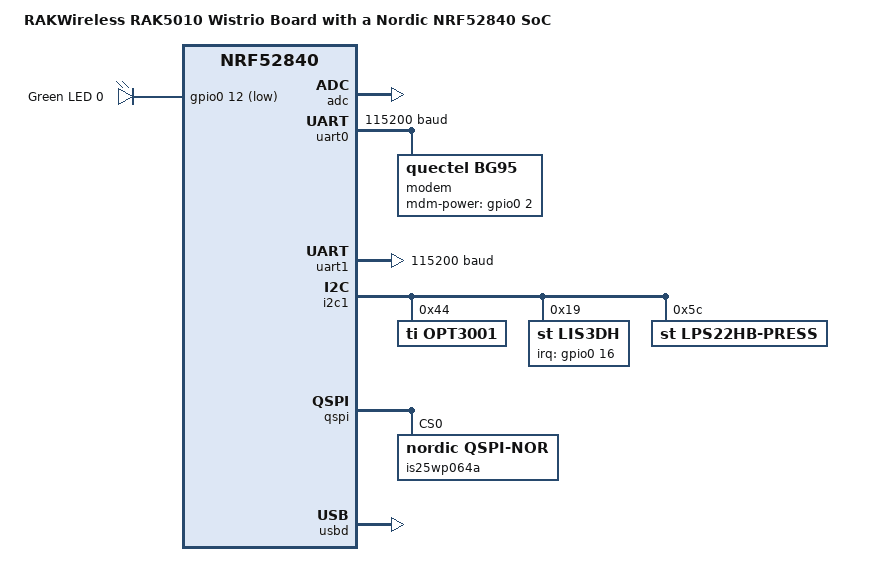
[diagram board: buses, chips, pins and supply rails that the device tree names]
/*
 * Copyright (c) 2020 Guillaume Paquet <guillaume.paquet@smile.fr>
 *
 * SPDX-License-Identifier: Apache-2.0
 */

/dts-v1/;
#include <nordic/nrf52840_qiaa.dtsi>
#include <nordic/nrf52840_partition.dtsi>
#include "rak5010_nrf52840-pinctrl.dtsi"

/ {
	model = "RAKWireless RAK5010 Wistrio Board with a Nordic NRF52840 SoC";
	compatible = "nordic,rak5010_nrf52840";

	chosen {
		zephyr,console = &uart1;
		zephyr,shell-uart = &uart1;
		zephyr,uart-mcumgr = &uart1;
		zephyr,bt-mon-uart = &uart1;
		zephyr,bt-c2h-uart = &uart1;
	};

	leds {
		compatible = "gpio-leds";
		led0: led_0 {
			gpios = <&gpio0 12 GPIO_ACTIVE_LOW>;
			label = "Green LED 0";
		};
	};

	/* Declaration of aliases */
	aliases {
		led0 = &led0;
		watchdog0 = &wdt0;
		accel0 = &lis3dh;
		modem-uart = &uart0;
		modem = &modem;
	};
};

&adc {
	status = "okay";
};

&gpiote {
	status = "okay";
};

&gpio0 {
	status = "okay";
};

&gpio1 {
	status = "okay";
};

&uart0 {
	compatible = "nordic,nrf-uarte";
	status = "okay";
	current-speed = <115200>;
	pinctrl-0 = <&uart0_default>;
	pinctrl-1 = <&uart0_sleep>;
	pinctrl-names = "default", "sleep";
	modem: modem {
		compatible = "quectel,bg95";
		mdm-power-gpios = <&gpio0 2 GPIO_ACTIVE_HIGH>;
		status = "okay";
	};
};

&uart1 {
	current-speed = <115200>;
	status = "okay";
	pinctrl-0 = <&uart1_default>;
	pinctrl-1 = <&uart1_sleep>;
	pinctrl-names = "default", "sleep";
};

&i2c1 {
	compatible = "nordic,nrf-twi";
	status = "okay";

	/* TI OPT3001 light sensor */
	pinctrl-0 = <&i2c1_default>;
	pinctrl-1 = <&i2c1_sleep>;
	pinctrl-names = "default", "sleep";
	opt3001@44 {
		compatible = "ti,opt3001";
		reg = <0x44>;
	};

	/* ST Microelectronics LIS3DH motion sensor */
	lis3dh: lis3dh@19 {
		compatible = "st,lis3dh", "st,lis2dh";
		reg = <0x19>;
		irq-gpios = <&gpio0 16 0>;
	};

	/* ST Microelectronics LPS22HB pressure sensor */
	lps22hb-press@5c {
		compatible = "st,lps22hb-press";
		reg = <0x5c>;
	};
};

&qspi {
	status = "okay";
	pinctrl-0 = <&qspi_default>;
	pinctrl-1 = <&qspi_sleep>;
	pinctrl-names = "default", "sleep";
	is25wp064a: is25wp064a@0 {
		compatible = "nordic,qspi-nor";
		reg = <0>;
		writeoc = "pp4o";
		readoc = "read4io";
		sck-frequency = <32000000>;
		jedec-id = [9d 70 17];
		size = <67108864>;
		has-dpd;
		t-enter-dpd = <3000>;
		t-exit-dpd = <5000>;
	};
};

zephyr_udc0: &usbd {
	compatible = "nordic,nrf-usbd";
	status = "okay";
};
